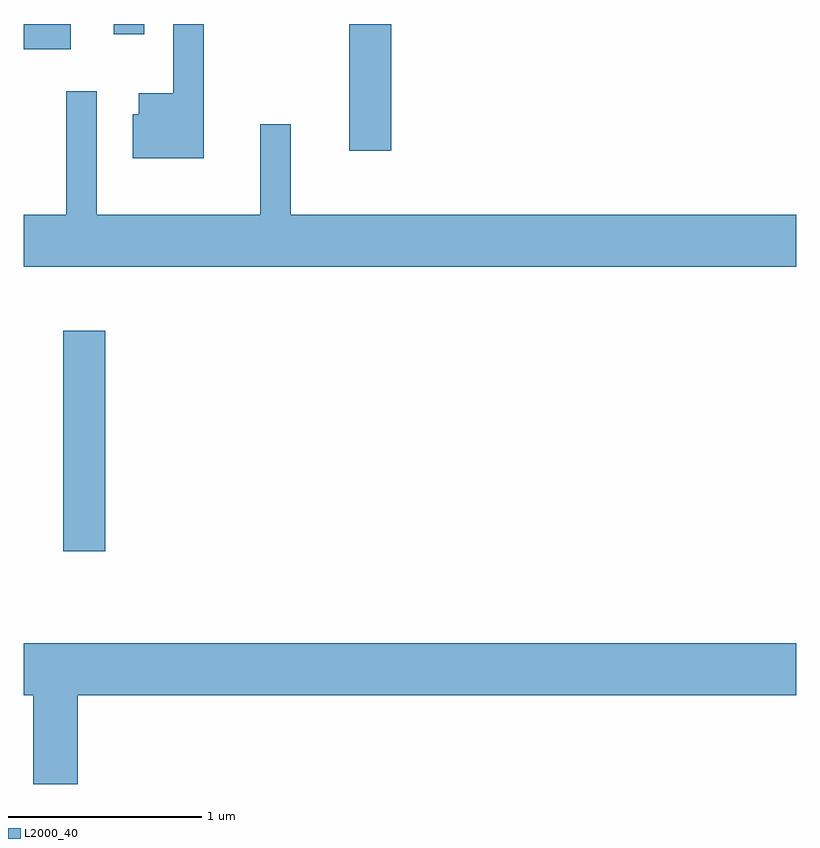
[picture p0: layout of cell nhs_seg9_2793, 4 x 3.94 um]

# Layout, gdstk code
import gdstk
lib = gdstk.Library(unit=1e-6, precision=1e-09)
def R(c, l, rs):  # rectangles x0, y0, x1, y1
    for r in rs: c.add(gdstk.rectangle(r[:2], r[2:], *l))
def P(c, l, *ps):  # polygons
    for p in ps: c.add(gdstk.Polygon(p, *l))
L2000_40 = (2000, 40)

nhs_seg9_2793 = lib.new_cell('nhs_seg9_2793')
R(nhs_seg9_2793, L2000_40, [(267.816,1963.701,268.034,1964.844), (269.296,1965.776,269.514,1966.432), (267.611,1966.301,267.854,1966.432), (268.076,1966.378,268.234,1966.432)])
P(nhs_seg9_2793, L2000_40, [(268.544,1966.432),(268.386,1966.432),(268.386,1966.074),(268.206,1966.074),(268.206,1965.964),(268.176,1965.964),(268.176,1965.736),(268.544,1965.736)],
  [(271.611,1965.444),(268.994,1965.444),(268.994,1965.913),(268.836,1965.913),(268.836,1965.444),(267.989,1965.444),(267.989,1966.083),(267.831,1966.083),(267.831,1965.444),(267.611,1965.444),(267.611,1965.176),(271.611,1965.176)],
  [(267.889,1962.956),(271.611,1962.956),(271.611,1963.224),(267.611,1963.224),(267.611,1962.956),(267.661,1962.956),(267.661,1962.496),(267.889,1962.496)])

lib.write_gds('nhs_seg9_2793.gds')
